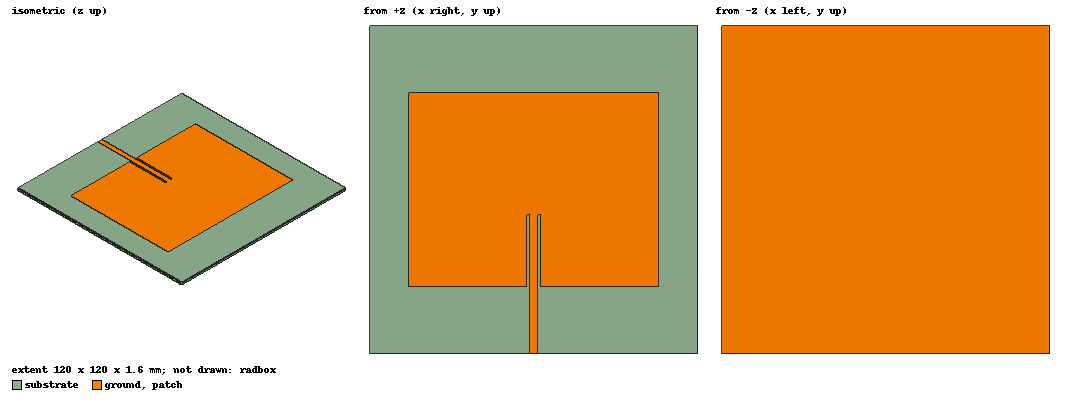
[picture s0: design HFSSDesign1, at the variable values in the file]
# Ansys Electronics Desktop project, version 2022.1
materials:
  vacuum: permittivity=1
  FR4_epoxy: permittivity=4.4 dielectric_loss_tangent=0.02

design HFSSDesign1 (HFSS, DrivenModal, model units mm)
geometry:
  ground = rectangle(corner=((-120/2) mm, (-120/2) mm, 0mm), x_size=120mm, y_size=120mm)
  substrate [FR4_epoxy] = box(corner=(-60mm, -60mm, 0mm), size=(120mm, 120mm, 1.6mm))
  patch = rectangle(corner=((-91.22/2) mm, (-71.26/2) mm, 1.6mm), x_size=91.22mm, y_size=71.26mm)
  cut = rectangle(corner=((-5.06/2) mm, (-71.26/2) mm, 1.6mm), x_size=5.06mm, y_size=26.5mm)
  patch.subtract(cut)
  feedline = rectangle(corner=((-3.06/2) mm, 0mm, 1.6mm), x_size=3.06mm, y_size=-60mm)
  patch.unite(feedline)
  port = rectangle(corner=(-1.53mm, -60mm, 1.6mm), z_size=-1.6mm, x_size=3.06mm)
  radbox [vacuum] = box(corner=(-80mm, 80mm, -25mm), size=(160mm, -160mm, 50mm))
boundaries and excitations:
  PerfE1: Perfect E Objects=[patch, ground]
  Rad1: Radiation Objects=radbox
  1: Lumped Port Objects=port Modes{Mode1{IntLine{(0, -60, 0) -> (0, -60, 1.6)} CharImp=Zpi RenormImp=50ohm}} Impedance=50ohm
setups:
  Setup1: HfssDriven Frequency=1GHz MaxDeltaS=0.02 MaximumPasses=20 MinimumPasses=1 MinimumConvergedPasses=1 PercentRefinement=30 BasisOrder=1 PortAccuracy=2 DrivenSolverType="Direct Solver"
    sweep Sweep: 0.5GHz to 1.5GHz step 0.01GHz; Type=Fast SaveFields
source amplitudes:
  1:1: 1W 0deg
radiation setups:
  Infinite Sphere1: Infinite Sphere Theta=0deg..360deg step 10deg Phi=0deg..360deg step 10deg
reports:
  S Parameter Plot 1: dB(S(1,1)) vs Freq on Setup1 : Sweep; markers m1 at 0.99GHz
